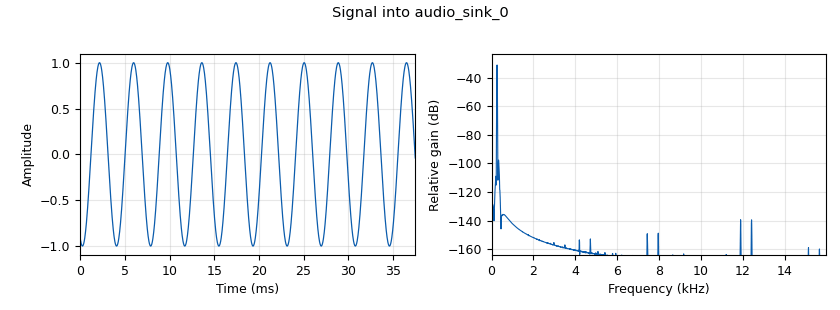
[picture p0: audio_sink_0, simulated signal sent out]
options:
  parameters:
    author: aditya
    generate_options: qt_gui
    id: happy_birthday_stream
    output_language: python
    title: Not titled yet
  states: {}

blocks:
- name: samp_rate
  id: variable
  parameters:
    value: '32000'
  states: {}
- name: audio_sink_0
  id: audio_sink
  parameters:
    samp_rate: samp_rate
  states: {}
- name: blocks_repeat_0
  id: blocks_repeat
  parameters:
    interp: '16000'
    type: float
  states: {}
- name: blocks_vco_f_0
  id: blocks_vco_f
  parameters:
    amplitude: '1'
    samp_rate: samp_rate
    sensitivity: '6.28'
  states: {}
- name: blocks_vector_source_x_0
  id: blocks_vector_source_x
  parameters:
    repeat: 'True'
    type: float
    vector: (262, 262, 293.66, 349.23, 329.63, 262, 262, 293.66, 262, 392, 349.23, 262, 262, 523.25, 440, 392, 349.23, 329.63, 466.16, 466.16, 440, 349.23, 392, 349.23)
  states: {}

connections:
- [blocks_repeat_0, '0', blocks_vco_f_0, '0']
- [blocks_vco_f_0, '0', audio_sink_0, '0']
- [blocks_vector_source_x_0, '0', blocks_repeat_0, '0']

metadata:
  file_format: 1
